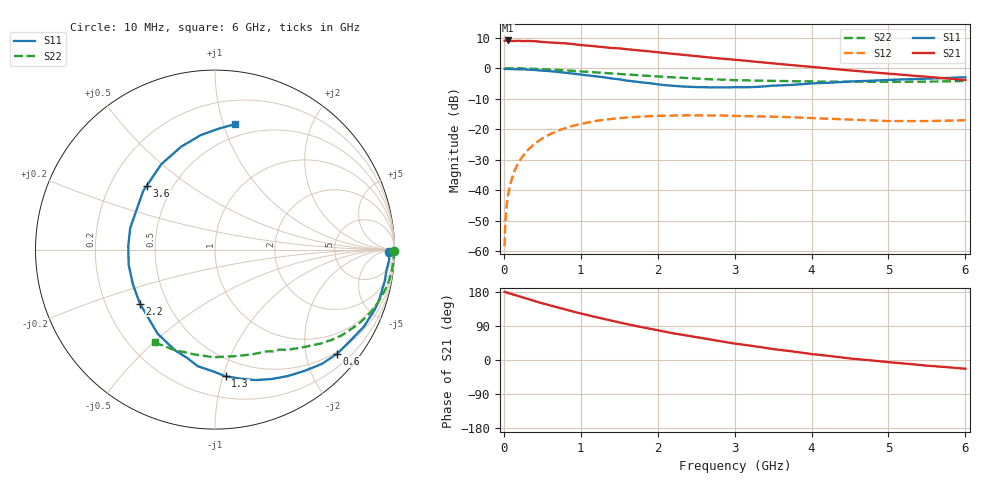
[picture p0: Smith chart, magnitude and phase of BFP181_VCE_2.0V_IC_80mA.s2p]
! Infineon Technologies  Discrete & RF Semiconductors
! BFP181
! VCE = 2.0 V,  IC =  80 mA
! Common Emitter S-Parameters:  Jan 2016
# GHz  S  MA  R  50
!  f  S11  S21  S12  S22
! GHz  MAG  ANG  MAG  ANG  MAG  ANG  MAG  ANG
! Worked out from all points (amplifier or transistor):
!   210 points, 10 MHz to 6 GHz, reference 50 ohm
!   highest |S21| = 9.1 dB at 50 MHz (marker M1)
!   |S21| within 3 dB of that: start of sweep to 1.654 GHz
!   unconditionally stable (mu >= 1): 3.182 GHz to end of sweep
!   at 185 MHz: K = 0.07, MSG = 20.1 dB, |S12| = -31.3 dB
!   at 1.52 GHz: K = 0.50, MSG = 11.4 dB, |S12| = -16.4 dB
!   at 6 GHz: K = 1.36, MAG = 3.0 dB, |S12| = -17.1 dB
!   S11 on the Smith chart (normalised r, x): 10 MHz: 52, -27; 600 MHz: 0.46, -2.64; 1.3 GHz: 0.36, -1.02; 2.2 GHz: 0.35, -0.29; 3.6 GHz: 0.36, +0.35; 6 GHz: 0.39, +1.09
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0.01  0.97 -0.9  2.804 179.7  0.0012 89.2  0.9979 -0.3
0.015  0.9683 -1.1  2.813 179.6  0.0021 90.1  0.9978 -0.4
0.025  0.9676 -1.7  2.827 179.1  0.0038 90.4  0.9977 -0.8
0.05  0.9729 -3.2  2.848 177.0  0.0076 90.5  0.9976 -1.7
0.12  0.9622 -8.2  2.791 172.8  0.0177 84.0  0.9955 -3.9
0.22  0.9568 -15.1  2.798 166.6  0.0322 79.9  0.9906 -7.1
0.4  0.9345 -27.2  2.777 155.5  0.0571 71.7  0.9763 -12.8
0.6  0.8941 -40.5  2.648 144.1  0.0823 62.7  0.9517 -18.7
0.8  0.8403 -53.5  2.557 132.9  0.1036 54.6  0.9203 -24.2
1.02  0.7811 -67.6  2.381 121.7  0.123 46.3  0.8823 -29.7
1.3  0.7085 -85.2  2.206 108.3  0.1422 36.7  0.8366 -35.9
1.5  0.6563 -98.5  2.118 99.1  0.1513 31.0  0.8016 -39.8
1.8  0.5824 -117.7  1.931 86.2  0.1606 23.7  0.7561 -44.9
2.02  0.5389 -131.8  1.81 77.7  0.1656 18.7  0.7293 -48.3
2.2  0.5153 -144.3  1.721 70.5  0.1671 14.8  0.7069 -51.4
2.64  0.4855 -172.6  1.514 55.6  0.1672 7.2  0.6612 -57.8
3.1  0.4857 160.5  1.34 40.8  0.1636 0.9  0.6311 -64.8
3.6  0.5211 136.8  1.168 26.5  0.1589 -4.0  0.614 -72.9
4.1  0.5674 119.2  1.022 13.6  0.1501 -7.3  0.6008 -82.3
4.5  0.6036 108.2  0.918 4.0  0.1434 -9.2  0.5999 -90.6
5.1  0.6482 95.2  0.793 -7.4  0.1355 -7.3  0.5953 -103.5
6  0.708 80.9  0.64 -23.1  0.1396 -3.1  0.6163 -123.1
